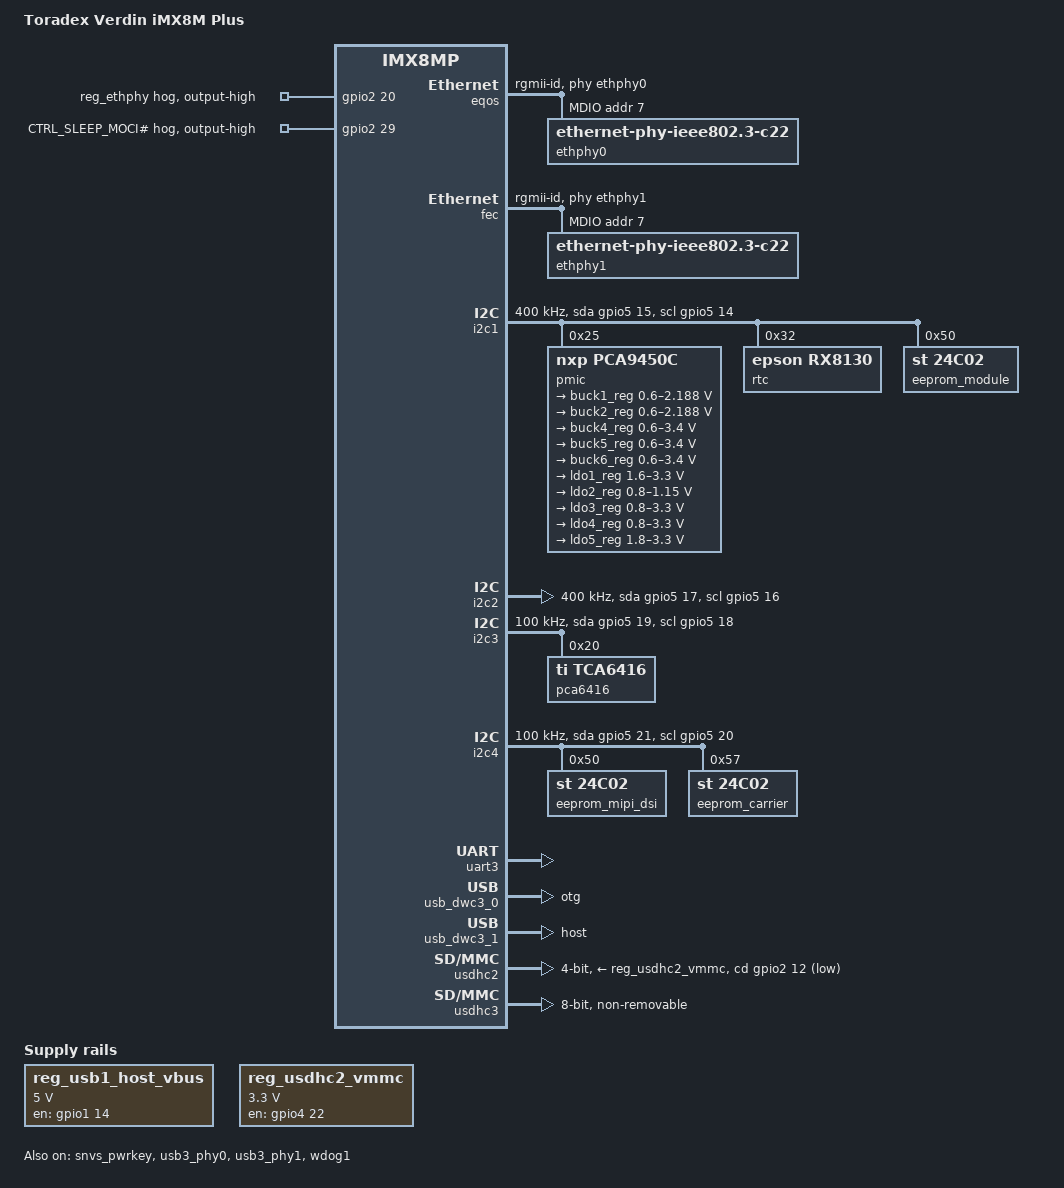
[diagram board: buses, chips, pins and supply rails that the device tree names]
// SPDX-License-Identifier: GPL-2.0-or-later OR MIT
/*
 * Copyright 2022 Toradex
 */

/dts-v1/;

#include <dt-bindings/usb/pd.h>
#include "imx8mp.dtsi"

/ {
	model = "Toradex Verdin iMX8M Plus";
	compatible = "toradex,verdin-imx8mp", "fsl,imx8mp";

	aliases {
		eeprom0 = &eeprom_module;
		eeprom1 = &eeprom_carrier;
		eeprom2 = &eeprom_mipi_dsi;
		/* Ethernet aliases to ensure correct MAC addresses */
		ethernet0 = &eqos;
		ethernet1 = &fec;
	};

	chosen {
		bootargs = "console=ttymxc2,115200 earlycon";
		stdout-path = &uart3;
	};

	reg_usb1_host_vbus: regulator-usb1-vbus {
		compatible = "regulator-fixed";
		enable-active-high;
		gpio = <&gpio1 14 GPIO_ACTIVE_HIGH>; /* USB_2_EN */
		pinctrl-names = "default";
		pinctrl-0 = <&pinctrl_usb1_vbus>;
		regulator-always-on;
		regulator-max-microvolt = <5000000>;
		regulator-min-microvolt = <5000000>;
		regulator-name = "usb1_host_vbus";
	};

	reg_usdhc2_vmmc: regulator-usdhc2 {
		compatible = "regulator-fixed";
		enable-active-high;
		gpio = <&gpio4 22 GPIO_ACTIVE_HIGH>; /* SD_1_PWR_EN */
		off-on-delay-us = <12000>;
		pinctrl-names = "default";
		pinctrl-0 = <&pinctrl_reg_usdhc2_vmmc>;
		regulator-max-microvolt = <3300000>;
		regulator-min-microvolt = <3300000>;
		regulator-name = "V3.3_SD";
		startup-delay-us = <100>;
	};
};

&eqos {
	phy-handle = <&ethphy0>;
	phy-mode = "rgmii-id";
	pinctrl-names = "default";
	pinctrl-0 = <&pinctrl_eqos>;
	status = "okay";

	mdio {
		compatible = "snps,dwmac-mdio";
		#address-cells = <1>;
		#size-cells = <0>;

		ethphy0: ethernet-phy@7 {
			compatible = "ethernet-phy-ieee802.3-c22";
			reg = <7>;
		};
	};
};

&fec {
	fsl,magic-packet;
	phy-handle = <&ethphy1>;
	phy-mode = "rgmii-id";
	pinctrl-names = "default";
	pinctrl-0 = <&pinctrl_fec>;

	status = "okay";

	mdio {
		#address-cells = <1>;
		#size-cells = <0>;

		ethphy1: ethernet-phy@7 {
			compatible = "ethernet-phy-ieee802.3-c22";
			reg = <7>;
		};
	};
};

&gpio2 {
	regulator-ethphy {
		gpio-hog;
		gpios = <20 GPIO_ACTIVE_HIGH>;
		line-name = "reg_ethphy";
		output-high;
		pinctrl-names = "default";
		pinctrl-0 = <&pinctrl_reg_eth>;
	};

	ctrl_sleep_moci {
		gpio-hog;
		/* Verdin CTRL_SLEEP_MOCI# (SODIMM 256) */
		gpios = <29 GPIO_ACTIVE_HIGH>;
		line-name = "CTRL_SLEEP_MOCI#";
		output-high;
		pinctrl-names = "default";
		pinctrl-0 = <&pinctrl_ctrl_sleep_moci>;
	};
};

/* Verdin PMIC_I2C */
&i2c1 {
	clock-frequency = <400000>;
	pinctrl-names = "default", "gpio";
	pinctrl-0 = <&pinctrl_i2c1>;
	pinctrl-1 = <&pinctrl_i2c1_gpio>;
	scl-gpios = <&gpio5 14 GPIO_ACTIVE_HIGH>;
	sda-gpios = <&gpio5 15 GPIO_ACTIVE_HIGH>;
	status = "okay";

	pmic: pca9450@25 {
		compatible = "nxp,pca9450c";
		reg = <0x25>;
		/* PMIC PCA9450 PMIC_nINT GPIO1_IO3 */

		regulators {
			#address-cells = <1>;
			/* Run/Standby voltage */
			pca9450,pmic-buck2-dvs-voltage = <950000>, <850000>;
			pca9450,pmic-buck2-uses-i2c-dvs;
			#size-cells = <0>;

			buck1_reg: regulator@0 {
				reg = <0>;
				regulator-always-on;
				regulator-boot-on;
				regulator-compatible = "buck1";
				regulator-max-microvolt = <2187500>;
				regulator-min-microvolt = <600000>;
				regulator-ramp-delay = <3125>;
			};

			buck2_reg: regulator@1 {
				reg = <1>;
				regulator-always-on;
				regulator-boot-on;
				regulator-compatible = "buck2";
				regulator-max-microvolt = <2187500>;
				regulator-min-microvolt = <600000>;
				regulator-ramp-delay = <3125>;
			};

			buck4_reg: regulator@3 {
				reg = <3>;
				regulator-always-on;
				regulator-boot-on;
				regulator-compatible = "buck4";
				regulator-max-microvolt = <3400000>;
				regulator-min-microvolt = <600000>;
			};

			buck5_reg: regulator@4 {
				reg = <4>;
				regulator-always-on;
				regulator-boot-on;
				regulator-compatible = "buck5";
				regulator-max-microvolt = <3400000>;
				regulator-min-microvolt = <600000>;
			};

			buck6_reg: regulator@5 {
				reg = <5>;
				regulator-always-on;
				regulator-boot-on;
				regulator-compatible = "buck6";
				regulator-max-microvolt = <3400000>;
				regulator-min-microvolt = <600000>;
			};

			ldo1_reg: regulator@6 {
				reg = <6>;
				regulator-always-on;
				regulator-boot-on;
				regulator-compatible = "ldo1";
				regulator-max-microvolt = <3300000>;
				regulator-min-microvolt = <1600000>;
			};

			ldo2_reg: regulator@7 {
				reg = <7>;
				regulator-always-on;
				regulator-boot-on;
				regulator-compatible = "ldo2";
				regulator-max-microvolt = <1150000>;
				regulator-min-microvolt = <800000>;
			};

			ldo3_reg: regulator@8 {
				reg = <8>;
				regulator-always-on;
				regulator-boot-on;
				regulator-compatible = "ldo3";
				regulator-max-microvolt = <3300000>;
				regulator-min-microvolt = <800000>;
			};

			ldo4_reg: regulator@9 {
				reg = <9>;
				regulator-always-on;
				regulator-boot-on;
				regulator-compatible = "ldo4";
				regulator-max-microvolt = <3300000>;
				regulator-min-microvolt = <800000>;
			};

			ldo5_reg: regulator@10 { /* +V3.3_1.8_SD */
				reg = <10>;
				regulator-compatible = "ldo5";
				regulator-max-microvolt = <3300000>;
				regulator-min-microvolt = <1800000>;
			};
		};
	};

	/* Epson RX8130 real time clock on carrier board */
	rtc: rx8130@32 {
		compatible = "epson,rx8130";
		reg = <0x32>;
	};

	eeprom_module: eeprom@50 {
		compatible = "st,24c02", "atmel,24c02", "i2c-eeprom";
		pagesize = <16>;
		reg = <0x50>;
	};
};

/* Verdin I2C2 DSI */
&i2c2 {
	clock-frequency = <400000>;
	pinctrl-names = "default", "gpio";
	pinctrl-0 = <&pinctrl_i2c2>;
	pinctrl-1 = <&pinctrl_i2c2_gpio>;
	scl-gpios = <&gpio5 16 GPIO_ACTIVE_HIGH>;
	sda-gpios = <&gpio5 17 GPIO_ACTIVE_HIGH>;
	status = "okay";
};

/* Verdin I2C4 CSI */
&i2c3 {
	clock-frequency = <100000>;
	pinctrl-names = "default", "gpio";
	pinctrl-0 = <&pinctrl_i2c3>;
	pinctrl-1 = <&pinctrl_i2c3_gpio>;
	scl-gpios = <&gpio5 18 GPIO_ACTIVE_HIGH>;
	sda-gpios = <&gpio5 19 GPIO_ACTIVE_HIGH>;
	status = "okay";

	pca6416: gpio@20 {
		compatible = "ti,tca6416";
		#gpio-cells = <2>;
		gpio-controller;
		reg = <0x20>;
	};
};

/* Verdin I2C1 */
&i2c4 {
	clock-frequency = <100000>;
	pinctrl-names = "default", "gpio";
	pinctrl-0 = <&pinctrl_i2c4>;
	pinctrl-1 = <&pinctrl_i2c4_gpio>;
	scl-gpios = <&gpio5 20 GPIO_ACTIVE_HIGH>;
	sda-gpios = <&gpio5 21 GPIO_ACTIVE_HIGH>;
	status = "okay";

	/* EEPROM on MIPI-DSI to HDMI adapter */
	eeprom_mipi_dsi: eeprom@50 {
		compatible = "st,24c02", "atmel,24c02", "i2c-eeprom";
		pagesize = <16>;
		reg = <0x50>;
	};

	/* EEPROM on Verdin Development board */
	eeprom_carrier: eeprom@57 {
		compatible = "st,24c02", "atmel,24c02", "i2c-eeprom";
		pagesize = <16>;
		reg = <0x57>;
	};
};

&snvs_pwrkey {
	status = "okay";
};

/* Verdin UART3 */
&uart3 {
	/* console */
	pinctrl-names = "default";
	pinctrl-0 = <&pinctrl_uart3>;
	status = "okay";
};

&usb3_phy0 {
	status = "okay";
};

&usb_dwc3_0 {
	adp-disable;
	dr_mode = "otg";
	hnp-disable;
	srp-disable;
	usb-role-switch;
	status = "okay";
};

&usb3_phy1 {
	status = "okay";
};

&usb_dwc3_1 {
	dr_mode = "host";
	status = "okay";
};

/* Verdin SDIO 1 */
&usdhc2 {
	bus-width = <4>;
	cd-gpios = <&gpio2 12 GPIO_ACTIVE_LOW>;
	pinctrl-names = "default", "state_100mhz", "state_200mhz";
	pinctrl-0 = <&pinctrl_usdhc2>, <&pinctrl_usdhc2_gpio>;
	pinctrl-1 = <&pinctrl_usdhc2_100mhz>, <&pinctrl_usdhc2_gpio>;
	pinctrl-2 = <&pinctrl_usdhc2_200mhz>, <&pinctrl_usdhc2_gpio>;
	vmmc-supply = <&reg_usdhc2_vmmc>;
	status = "okay";
};

/* On-module eMMC */
&usdhc3 {
	bus-width = <8>;
	non-removable;
	pinctrl-names = "default", "state_100mhz", "state_200mhz";
	pinctrl-0 = <&pinctrl_usdhc3>;
	pinctrl-1 = <&pinctrl_usdhc3_100mhz>;
	pinctrl-2 = <&pinctrl_usdhc3_200mhz>;
	status = "okay";
};

&wdog1 {
	fsl,ext-reset-output;
	pinctrl-names = "default";
	pinctrl-0 = <&pinctrl_wdog>;
	status = "okay";
};

&iomuxc {
	pinctrl-names = "default";
	pinctrl-0 = <&pinctrl_gpio1>, <&pinctrl_gpio2>, <&pinctrl_gpio3>,
		    <&pinctrl_gpio4>, <&pinctrl_gpio5>, <&pinctrl_gpio6>,
		    <&pinctrl_gpio7>, <&pinctrl_gpio8>;

	pinctrl_ctrl_sleep_moci: ctrlsleepmocigrp {
		fsl,pins = <
			MX8MP_IOMUXC_SAI3_RXC__GPIO4_IO29		0x1c4	/* SODIMM 256 */
		>;
	};

	pinctrl_eqos: eqosgrp {
		fsl,pins = <
			MX8MP_IOMUXC_ENET_MDC__ENET_QOS_MDC				0x3
			MX8MP_IOMUXC_ENET_MDIO__ENET_QOS_MDIO				0x3
			MX8MP_IOMUXC_ENET_RD0__ENET_QOS_RGMII_RD0			0x91
			MX8MP_IOMUXC_ENET_RD1__ENET_QOS_RGMII_RD1			0x91
			MX8MP_IOMUXC_ENET_RD2__ENET_QOS_RGMII_RD2			0x91
			MX8MP_IOMUXC_ENET_RD3__ENET_QOS_RGMII_RD3			0x91
			MX8MP_IOMUXC_ENET_RXC__CCM_ENET_QOS_CLOCK_GENERATE_RX_CLK	0x91
			MX8MP_IOMUXC_ENET_RX_CTL__ENET_QOS_RGMII_RX_CTL			0x91
			MX8MP_IOMUXC_ENET_TD0__ENET_QOS_RGMII_TD0			0x1f
			MX8MP_IOMUXC_ENET_TD1__ENET_QOS_RGMII_TD1			0x1f
			MX8MP_IOMUXC_ENET_TD2__ENET_QOS_RGMII_TD2			0x1f
			MX8MP_IOMUXC_ENET_TD3__ENET_QOS_RGMII_TD3			0x1f
			MX8MP_IOMUXC_ENET_TX_CTL__ENET_QOS_RGMII_TX_CTL			0x1f
			MX8MP_IOMUXC_ENET_TXC__CCM_ENET_QOS_CLOCK_GENERATE_TX_CLK	0x1f
		>;
	};

	pinctrl_fec: fecgrp {
		fsl,pins = <
			MX8MP_IOMUXC_SAI1_RXD0__GPIO4_IO02		0x19
			MX8MP_IOMUXC_SAI1_RXD2__ENET1_MDC		0x3
			MX8MP_IOMUXC_SAI1_RXD3__ENET1_MDIO		0x3
			MX8MP_IOMUXC_SAI1_RXD4__ENET1_RGMII_RD0		0x91
			MX8MP_IOMUXC_SAI1_RXD5__ENET1_RGMII_RD1		0x91
			MX8MP_IOMUXC_SAI1_RXD6__ENET1_RGMII_RD2		0x91
			MX8MP_IOMUXC_SAI1_RXD7__ENET1_RGMII_RD3		0x91
			MX8MP_IOMUXC_SAI1_TXC__ENET1_RGMII_RXC		0x91
			MX8MP_IOMUXC_SAI1_TXD0__ENET1_RGMII_TD0		0x1f
			MX8MP_IOMUXC_SAI1_TXD1__ENET1_RGMII_TD1		0x1f
			MX8MP_IOMUXC_SAI1_TXD2__ENET1_RGMII_TD2		0x1f
			MX8MP_IOMUXC_SAI1_TXD3__ENET1_RGMII_TD3		0x1f
			MX8MP_IOMUXC_SAI1_TXD4__ENET1_RGMII_TX_CTL	0x1f
			MX8MP_IOMUXC_SAI1_TXD5__ENET1_RGMII_TXC		0x1f
			MX8MP_IOMUXC_SAI1_TXFS__ENET1_RGMII_RX_CTL	0x91
		>;
	};

	/* (MEZ_)GPIO_1 shared with (MEZ_)DSI_1_INT# on Verdin Development Board */
	pinctrl_gpio1: gpio1grp {
		fsl,pins = <
			MX8MP_IOMUXC_GPIO1_IO00__GPIO1_IO00	0x184		/* SODIMM 206 */
		>;
	};

	pinctrl_gpio2: gpio2grp {
		fsl,pins = <
			MX8MP_IOMUXC_GPIO1_IO01__GPIO1_IO01	0x184		/* SODIMM 208 */
		>;
	};

	pinctrl_gpio3: gpio3grp {
		fsl,pins = <
			MX8MP_IOMUXC_GPIO1_IO05__GPIO1_IO05	0x184		/* SODIMM 210 */
		>;
	};

	pinctrl_gpio4: gpio4grp {
		fsl,pins = <
			MX8MP_IOMUXC_GPIO1_IO06__GPIO1_IO06	0x184		/* SODIMM 212 */
		>;
	};

	pinctrl_gpio5: gpio5grp {
		fsl,pins = <
			MX8MP_IOMUXC_GPIO1_IO07__GPIO1_IO07	0x184		/* SODIMM 216 */
		>;
	};

	pinctrl_gpio6: gpio6grp {
		fsl,pins = <
			MX8MP_IOMUXC_GPIO1_IO08__GPIO1_IO08	0x184		/* SODIMM 218 */
		>;
	};

	pinctrl_gpio7: gpio7grp {
		fsl,pins = <
			MX8MP_IOMUXC_SAI1_RXD1__GPIO4_IO03	0x184		/* SODIMM 220 */
		>;
	};

	pinctrl_gpio8: gpio8grp {
		fsl,pins = <
			MX8MP_IOMUXC_SAI1_RXC__GPIO4_IO01	0x184		/* SODIMM 222 */
		>;
	};

	pinctrl_i2c1: i2c1grp {
		fsl,pins = <
			MX8MP_IOMUXC_I2C1_SCL__I2C1_SCL		0x400001c3
			MX8MP_IOMUXC_I2C1_SDA__I2C1_SDA		0x400001c3
		>;
	};

	pinctrl_i2c2: i2c2grp {
		fsl,pins = <
			MX8MP_IOMUXC_I2C2_SCL__I2C2_SCL		0x400001c3
			MX8MP_IOMUXC_I2C2_SDA__I2C2_SDA		0x400001c3
		>;
	};

	pinctrl_i2c3: i2c3grp {
		fsl,pins = <
			MX8MP_IOMUXC_I2C3_SCL__I2C3_SCL		0x400001c3
			MX8MP_IOMUXC_I2C3_SDA__I2C3_SDA		0x400001c3
		>;
	};

	pinctrl_i2c4: i2c4grp {
		fsl,pins = <
			MX8MP_IOMUXC_I2C4_SCL__I2C4_SCL		0x400001c3
			MX8MP_IOMUXC_I2C4_SDA__I2C4_SDA		0x400001c3
		>;
	};

	pinctrl_i2c1_gpio: i2c1grp-gpio {
		fsl,pins = <
			MX8MP_IOMUXC_I2C1_SCL__GPIO5_IO14	0x1c3
			MX8MP_IOMUXC_I2C1_SDA__GPIO5_IO15	0x1c3
		>;
	};

	pinctrl_i2c2_gpio: i2c2grp-gpio {
		fsl,pins = <
			MX8MP_IOMUXC_I2C2_SCL__GPIO5_IO16	0x1c3
			MX8MP_IOMUXC_I2C2_SDA__GPIO5_IO17	0x1c3
		>;
	};

	pinctrl_i2c3_gpio: i2c3grp-gpio {
		fsl,pins = <
			MX8MP_IOMUXC_I2C3_SCL__GPIO5_IO18	0x1c3
			MX8MP_IOMUXC_I2C3_SDA__GPIO5_IO19	0x1c3
		>;
	};

	pinctrl_i2c4_gpio: i2c4grp-gpio {
		fsl,pins = <
			MX8MP_IOMUXC_I2C4_SCL__GPIO5_IO20	0x1c3
			MX8MP_IOMUXC_I2C4_SDA__GPIO5_IO21	0x1c3
		>;
	};

	pinctrl_reg_eth: regethgrp {
		fsl,pins = <
			MX8MP_IOMUXC_SD2_WP__GPIO2_IO20		0x184
		>;
	};

	pinctrl_reg_usdhc2_vmmc: regusdhc2vmmc {
		fsl,pins = <
			MX8MP_IOMUXC_SAI2_RXC__GPIO4_IO22	0x41
		>;
	};

	pinctrl_uart3: uart3grp {
		fsl,pins = <
			MX8MP_IOMUXC_UART3_RXD__UART3_DCE_RX	0x49
			MX8MP_IOMUXC_UART3_TXD__UART3_DCE_TX	0x49
		>;
	};

	pinctrl_usb1_vbus: usb1grp {
		fsl,pins = <
			MX8MP_IOMUXC_GPIO1_IO14__GPIO1_IO14	0x19
		>;
	};

	pinctrl_usdhc2: usdhc2grp {
		fsl,pins = <
			MX8MP_IOMUXC_GPIO1_IO04__USDHC2_VSELECT	0xc1
			MX8MP_IOMUXC_SD2_CLK__USDHC2_CLK	0x190
			MX8MP_IOMUXC_SD2_CMD__USDHC2_CMD	0x1d0
			MX8MP_IOMUXC_SD2_DATA0__USDHC2_DATA0	0x1d0
			MX8MP_IOMUXC_SD2_DATA1__USDHC2_DATA1	0x1d0
			MX8MP_IOMUXC_SD2_DATA2__USDHC2_DATA2	0x1d0
			MX8MP_IOMUXC_SD2_DATA3__USDHC2_DATA3	0x1d0
		>;
	};

	pinctrl_usdhc2_100mhz: usdhc2grp-100mhz {
		fsl,pins = <
			MX8MP_IOMUXC_GPIO1_IO04__USDHC2_VSELECT 0xc1
			MX8MP_IOMUXC_SD2_CLK__USDHC2_CLK	0x194
			MX8MP_IOMUXC_SD2_CMD__USDHC2_CMD	0x1d4
			MX8MP_IOMUXC_SD2_DATA0__USDHC2_DATA0	0x1d4
			MX8MP_IOMUXC_SD2_DATA1__USDHC2_DATA1	0x1d4
			MX8MP_IOMUXC_SD2_DATA2__USDHC2_DATA2	0x1d4
			MX8MP_IOMUXC_SD2_DATA3__USDHC2_DATA3	0x1d4
		>;
	};

	pinctrl_usdhc2_200mhz: usdhc2grp-200mhz {
		fsl,pins = <
			MX8MP_IOMUXC_GPIO1_IO04__USDHC2_VSELECT 0xc1
			MX8MP_IOMUXC_SD2_CLK__USDHC2_CLK	0x196
			MX8MP_IOMUXC_SD2_CMD__USDHC2_CMD	0x1d6
			MX8MP_IOMUXC_SD2_DATA0__USDHC2_DATA0	0x1d6
			MX8MP_IOMUXC_SD2_DATA1__USDHC2_DATA1	0x1d6
			MX8MP_IOMUXC_SD2_DATA2__USDHC2_DATA2	0x1d6
			MX8MP_IOMUXC_SD2_DATA3__USDHC2_DATA3	0x1d6
		>;
	};

	pinctrl_usdhc2_gpio: usdhc2grp-gpio {
		fsl,pins = <
			MX8MP_IOMUXC_SD2_CD_B__GPIO2_IO12	0x1c4
		>;
	};

	pinctrl_usdhc3: usdhc3grp {
		fsl,pins = <
			MX8MP_IOMUXC_NAND_CE1_B__USDHC3_STROBE		0x190
			MX8MP_IOMUXC_NAND_CE2_B__USDHC3_DATA5		0x1d0
			MX8MP_IOMUXC_NAND_CE3_B__USDHC3_DATA6		0x1d0
			MX8MP_IOMUXC_NAND_CLE__USDHC3_DATA7		0x1d0
			MX8MP_IOMUXC_NAND_DATA04__USDHC3_DATA0		0x1d0
			MX8MP_IOMUXC_NAND_DATA05__USDHC3_DATA1		0x1d0
			MX8MP_IOMUXC_NAND_DATA06__USDHC3_DATA2		0x1d0
			MX8MP_IOMUXC_NAND_DATA07__USDHC3_DATA3		0x1d0
			MX8MP_IOMUXC_NAND_READY_B__USDHC3_RESET_B	0x1d1
			MX8MP_IOMUXC_NAND_RE_B__USDHC3_DATA4		0x1d0
			MX8MP_IOMUXC_NAND_WE_B__USDHC3_CLK		0x190
			MX8MP_IOMUXC_NAND_WP_B__USDHC3_CMD		0x1d0
		>;
	};

	pinctrl_usdhc3_100mhz: usdhc3grp-100mhz {
		fsl,pins = <
			MX8MP_IOMUXC_NAND_CE1_B__USDHC3_STROBE		0x194
			MX8MP_IOMUXC_NAND_CE2_B__USDHC3_DATA5		0x1d4
			MX8MP_IOMUXC_NAND_CE3_B__USDHC3_DATA6		0x1d4
			MX8MP_IOMUXC_NAND_CLE__USDHC3_DATA7		0x1d4
			MX8MP_IOMUXC_NAND_DATA04__USDHC3_DATA0		0x1d4
			MX8MP_IOMUXC_NAND_DATA05__USDHC3_DATA1		0x1d4
			MX8MP_IOMUXC_NAND_DATA06__USDHC3_DATA2		0x1d4
			MX8MP_IOMUXC_NAND_DATA07__USDHC3_DATA3		0x1d4
			MX8MP_IOMUXC_NAND_READY_B__USDHC3_RESET_B	0x1d1
			MX8MP_IOMUXC_NAND_RE_B__USDHC3_DATA4		0x1d4
			MX8MP_IOMUXC_NAND_WE_B__USDHC3_CLK		0x194
			MX8MP_IOMUXC_NAND_WP_B__USDHC3_CMD		0x1d4
		>;
	};

	pinctrl_usdhc3_200mhz: usdhc3grp-200mhz {
		fsl,pins = <
			MX8MP_IOMUXC_NAND_CE1_B__USDHC3_STROBE		0x196
			MX8MP_IOMUXC_NAND_CE2_B__USDHC3_DATA5		0x1d6
			MX8MP_IOMUXC_NAND_CE3_B__USDHC3_DATA6		0x1d6
			MX8MP_IOMUXC_NAND_CLE__USDHC3_DATA7		0x1d6
			MX8MP_IOMUXC_NAND_DATA04__USDHC3_DATA0		0x1d6
			MX8MP_IOMUXC_NAND_DATA05__USDHC3_DATA1		0x1d6
			MX8MP_IOMUXC_NAND_DATA06__USDHC3_DATA2		0x1d6
			MX8MP_IOMUXC_NAND_DATA07__USDHC3_DATA3		0x1d6
			MX8MP_IOMUXC_NAND_READY_B__USDHC3_RESET_B	0x1d1
			MX8MP_IOMUXC_NAND_RE_B__USDHC3_DATA4		0x1d6
			MX8MP_IOMUXC_NAND_WE_B__USDHC3_CLK		0x196
			MX8MP_IOMUXC_NAND_WP_B__USDHC3_CMD		0x1d6
		>;
	};

	pinctrl_wdog: wdoggrp {
		fsl,pins = <
			MX8MP_IOMUXC_GPIO1_IO02__WDOG1_WDOG_B	0xc6
		>;
	};
};
